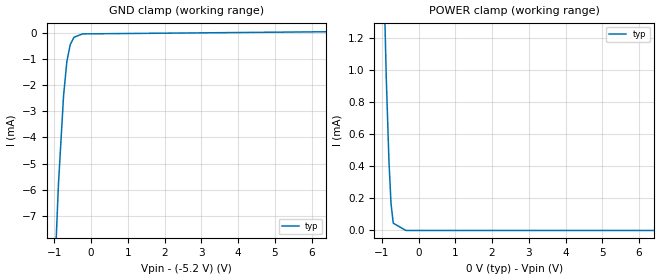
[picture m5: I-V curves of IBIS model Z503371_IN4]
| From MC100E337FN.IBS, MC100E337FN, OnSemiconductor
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| (C) COPYRIGHT 1993-2000
| MENTOR GRAPHICS CORPORATION
| ICX STANDARD LIBRARY, ICX PROJECT MODELING,
| ICX CUSTOM MODELING, ICX VENDOR MODEL
| ALL RIGHTS RESERVED.
| THE FOLLOWING ARE TRADEMARKS OR SERVICE MARKS OF
| MENTOR GRAPHICS CORPORATION:ICX (R), ICX STANDARD
| LIBRARY(R), ICX PROJECT MODELING(R), ICX CUSTOM
| MODELING(R), qualityIBIS(TM), MODELVIEWER(TM),
| AND MODELEDITOR(TM)
| ALL COPIES OF SOFTWARE, INCLUDING BUT NOT LIMITED TO
| ANY MODIFICATIONS, ENHANCEMENTS OR DERIVATIVE WORKS,
| MUST CONTAIN ALL MENTOR GRAPHICS CORPORATION'S
| NOTICES AND LEGENDS, INCLUDING THOSE EMBEDDED IN
| SOFTWARE AND THOSE AFFIXED TO SOFTWARE MEDIUM
| AND CONTAINER, AS RECEIVED FROM MENTOR GRAPHICS
| CORPORATION.
| Model Application Version 1.89 2/18/99.
[Model] Z503371_IN4
Model_type Input_ECL
Vinl = -1.475V
Vinh = -1.165V
C_comp 4.000pF NA NA
| variable typ   min   max
[Voltage Range] -5.200V NA NA
[GND Clamp Reference] -5.200V NA NA
[POWER Clamp Reference] 0.000V NA NA
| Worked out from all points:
|   GND clamp passes 1 mA (typ) near -0.65 V on its own axis
|   POWER clamp passes 1 mA (typ) near -0.88 V on its own axis
[GND Clamp]
-5.2V     -200.4mA   NA         NA
-1.081V   -12.49mA   NA         NA
-887mV    -5.829mA   NA         NA
-746mV    -2.386mA   NA         NA
-658mV    -1.09mA    NA         NA
-566mV    -437.1uA   NA         NA
-466mV    -152.2uA   NA         NA
-233mV    -19.34uA   NA         NA
10.4V     112uA      NA         NA
[POWER Clamp]
-5.2V     60.23mA    NA         NA
-2.51V    20.96mA    NA         NA
-2.339V   18.06mA    NA         NA
-1.724V   10.24mA    NA         NA
-1.331V   5.661mA    NA         NA
-1.06V    2.711mA    NA         NA
-878mV    959.4uA    NA         NA
-804.4mV  434.6uA    NA         NA
-748mV    168.1uA    NA         NA
-687.5mV  45.71uA    NA         NA
-343.8mV  0A         NA         NA
10.4V     0A         NA         NA
